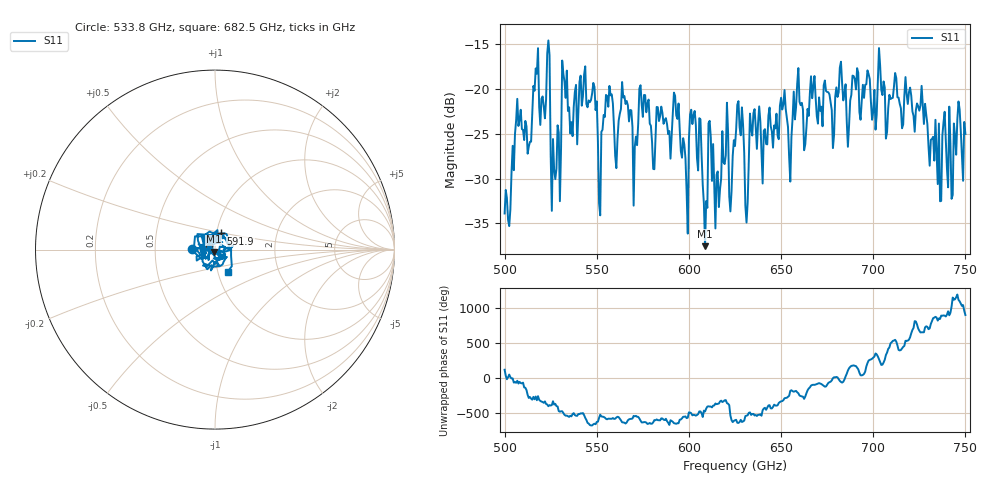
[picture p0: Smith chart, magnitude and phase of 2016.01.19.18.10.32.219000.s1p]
!Created with skrf (http://scikit-rf.org).
# GHz S RI R 50.0
!freq ReS11 ImS11
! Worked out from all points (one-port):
!   401 points, 500 GHz to 750 GHz, reference 50 ohm
!   lowest |S11| = -37.5 dB at 608.8 GHz (marker M1), VSWR 1.03, Z = 49.3 - j1.1 ohm
!   |S11| at or under -10 dB: start of sweep to end of sweep
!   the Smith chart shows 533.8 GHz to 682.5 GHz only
!   S11 on the Smith chart (normalised r, x): 533.8 GHz: 0.78, +0.00; 591.9 GHz: 1.05, +0.19; 682.5 GHz: 1.12, -0.28
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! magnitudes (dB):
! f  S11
! 500 GHz  -33.9
! 513.8 GHz  -25.9
! 516.9 GHz  -17.7
! 523.1 GHz  -16.0
! 526.9 GHz  -29.0
! 531.2 GHz  -16.8
! 533.8 GHz  -18.0
! 548.8 GHz  -19.8
! 551.9 GHz  -34.1
! 556.2 GHz  -22.0
! 562.5 GHz  -22.8
! 591.9 GHz  -20.4
! 593.8 GHz  -23.3
! 598.1 GHz  -27.7
! 602.5 GHz  -22.9
! 608.8 GHz  -37.5
! 611.9 GHz  -25.4
! 615.6 GHz  -29.2
! 625 GHz  -26.4
! 628.1 GHz  -25.2
! 631.2 GHz  -34.9
! 634.4 GHz  -25.2
! 656.2 GHz  -23.2
! 682.5 GHz  -17.0
! 687.5 GHz  -21.3
! 718.8 GHz  -21.7
! 735.6 GHz  -23.9
! 750 GHz  -25.0
